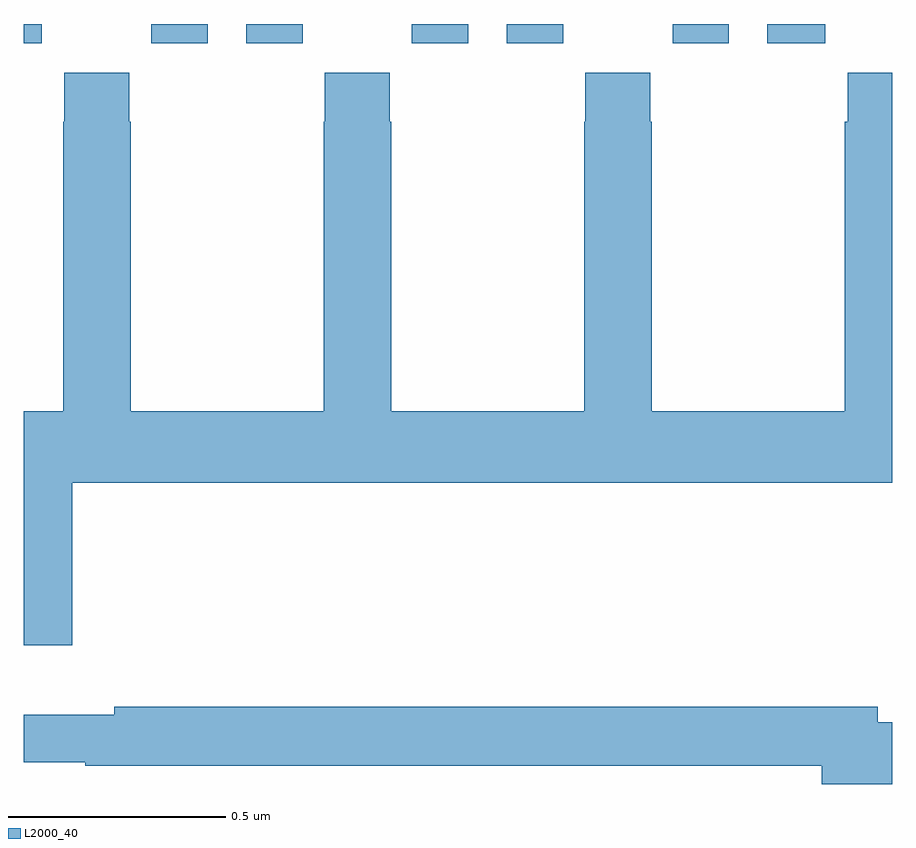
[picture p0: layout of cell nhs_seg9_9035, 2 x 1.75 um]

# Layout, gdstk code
import gdstk
lib = gdstk.Library(unit=1e-6, precision=1e-09)
def R(c, l, rs):  # rectangles x0, y0, x1, y1
    for r in rs: c.add(gdstk.rectangle(r[:2], r[2:], *l))
def P(c, l, *ps):  # polygons
    for p in ps: c.add(gdstk.Polygon(p, *l))
L2000_40 = (2000, 40)

nhs_seg9_9035 = lib.new_cell('nhs_seg9_9035')
R(nhs_seg9_9035, L2000_40, [(225,1173.456,225.042,1173.5), (225.294,1173.456,225.424,1173.5), (225.512,1173.456,225.642,1173.5), (225.894,1173.456,226.024,1173.5), (226.112,1173.456,226.242,1173.5), (226.494,1173.456,226.624,1173.5), (226.712,1173.456,226.846,1173.5)])
P(nhs_seg9_9035, L2000_40, [(225.112,1172.444),(227,1172.444),(227,1173.388),(226.897,1173.388),(226.897,1173.275),(226.891,1173.275),(226.891,1172.608),(226.446,1172.608),(226.446,1173.275),(226.443,1173.275),(226.443,1173.388),(226.293,1173.388),(226.293,1173.275),(226.291,1173.275),(226.291,1172.608),(225.846,1172.608),(225.846,1173.275),(225.843,1173.275),(225.843,1173.388),(225.693,1173.388),(225.693,1173.275),(225.691,1173.275),(225.691,1172.608),(225.246,1172.608),(225.246,1173.275),(225.243,1173.275),(225.243,1173.388),(225.093,1173.388),(225.093,1173.275),(225.091,1173.275),(225.091,1172.608),(225,1172.608),(225,1172.07),(225.112,1172.07)],
  [(227,1171.892),(226.966,1171.892),(226.966,1171.928),(225.208,1171.928),(225.208,1171.909),(225,1171.909),(225,1171.8),(225.142,1171.8),(225.142,1171.792),(226.838,1171.792),(226.838,1171.75),(227,1171.75)])

lib.write_gds('nhs_seg9_9035.gds')
